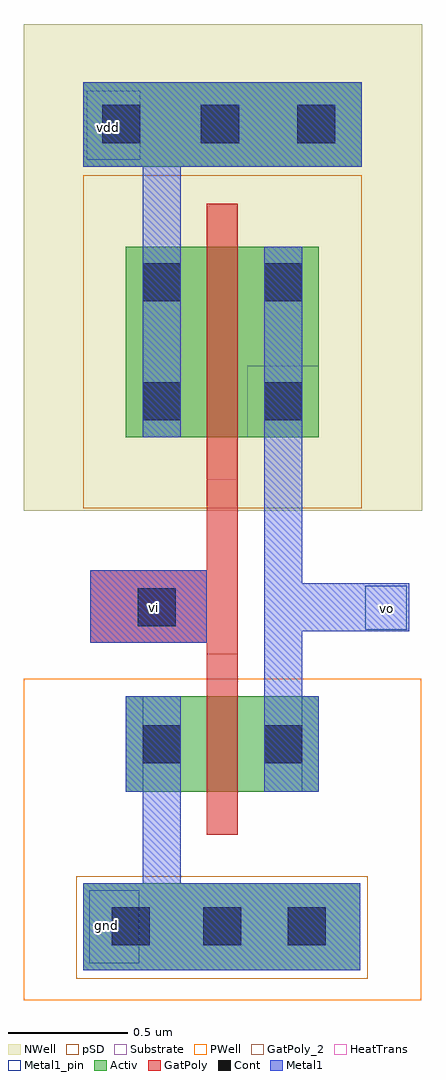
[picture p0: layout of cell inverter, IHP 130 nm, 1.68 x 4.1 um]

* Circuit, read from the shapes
.subckt inverter gnd vdd vi vo
XM1 vo vi gnd gnd sg13_lv_nmos w=0.4u l=0.13u
XM2 vo vi vdd vdd sg13_lv_pmos w=0.8u l=0.13u
.ends

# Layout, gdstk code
import gdstk
lib = gdstk.Library(unit=1e-6, precision=1e-09)
def R(c, l, rs):  # rectangles x0, y0, x1, y1
    for r in rs: c.add(gdstk.rectangle(r[:2], r[2:], *l))
Activ = (1, 0)
GatPoly = (5, 0)
GatPoly_2 = (5, 2)
Cont = (6, 0)
Metal1 = (8, 0)
Metal1_pin = (8, 2)
pSD = (14, 0)
NWell = (31, 0)
Substrate = (40, 0)
PWell = (46, 0)
HeatTrans = (51, 0)

pmos = lib.new_cell('pmos')
R(pmos, Activ, [(0,0,0.3,0.3), (0,0,0.81,0.8), (0.51,0,0.81,0.3)])
R(pmos, GatPoly, [(0.34,-0.18,0.47,0.98), (0.34,-0.18,0.47,0.98)])
R(pmos, Cont, [(0.07,0.07,0.23,0.23), (0.58,0.07,0.74,0.23), (0.07,0.57,0.23,0.73), (0.58,0.57,0.74,0.73)])
R(pmos, Metal1, [(0.07,0,0.23,0.8), (0.07,0,0.23,0.8), (0.58,0,0.74,0.8), (0.58,0,0.74,0.8)])
R(pmos, pSD, [(-0.18,-0.3,0.99,1.1)])
R(pmos, NWell, [(-0.31,-0.31,1.12,1.11)])
R(pmos, Substrate, [(0.51,0,0.81,0.3)])
R(pmos, HeatTrans, [(0.34,-0.18,0.47,0.98)])
pmos.add(gdstk.Label('pmos', (0.405,0.4), layer=63, texttype=0))
pmos.add(gdstk.Label('pmos', (0.405,0.4), layer=51, texttype=0))

nmos_1 = lib.new_cell('nmos$1')
R(nmos_1, Activ, [(0,0,0.3,0.3), (0,0,0.81,0.4), (0.51,0,0.81,0.3)])
R(nmos_1, GatPoly, [(0.34,-0.18,0.47,0.58)])
R(nmos_1, GatPoly_2, [(0.34,-0.18,0.47,0.58)])
R(nmos_1, Cont, [(0.07,0.12,0.23,0.28), (0.58,0.12,0.74,0.28)])
R(nmos_1, Metal1, [(0.07,0,0.23,0.4), (0.58,0,0.74,0.4)])
R(nmos_1, Metal1_pin, [(0.07,0,0.23,0.4), (0.58,0,0.74,0.4)])
R(nmos_1, HeatTrans, [(0.34,-0.18,0.47,0.58)])
nmos_1.add(gdstk.Label('nmos', (0.405,0.2), layer=63, texttype=0))
nmos_1.add(gdstk.Label('nmos', (0.405,0.2), layer=51, texttype=0))

inverter = lib.new_cell('inverter')
R(inverter, Activ, [(-0.62,-1.925,0.545,-1.56), (-0.62,1.45,0.55,1.805)])
R(inverter, GatPoly, [(-0.1,-1.355,0.03,1.295), (-0.59,-0.55,-0.015,-0.245)])
R(inverter, Cont, [(-0.5,-1.82,-0.34,-1.66), (-0.115,-1.82,0.045,-1.66), (0.24,-1.82,0.4,-1.66), (-0.39,-0.48,-0.23,-0.32), (-0.54,1.55,-0.38,1.71), (-0.125,1.55,0.035,1.71), (0.28,1.55,0.44,1.71)])
R(inverter, Metal1, [(-0.62,-1.925,0.545,-1.56), (-0.37,-1.765,-0.21,-1), (-0.44,-1.175,-0.21,-0.775), (0.14,-1.175,0.37,-0.775), (0.14,-1.175,0.3,1.115), (-0.59,-0.55,-0.1,-0.245), (0.14,-0.5,0.75,-0.3), (-0.37,1.025,-0.21,1.805), (-0.62,1.45,0.55,1.805)])
R(inverter, Metal1_pin, [(-0.595,-1.895,-0.385,-1.59), (0.565,-0.495,0.74,-0.31), (-0.39,-0.48,-0.23,-0.32), (-0.605,1.48,-0.38,1.77)])
R(inverter, pSD, [(-0.65,-1.96,0.575,-1.53)])
R(inverter, NWell, [(-0.87,0.005,0.805,2.05)])
R(inverter, PWell, [(-0.87,-2.05,0.8,-0.7)])
inverter.add(gdstk.Reference(pmos, (-0.44,0.315)))
inverter.add(gdstk.Reference(nmos_1, (-0.44,-1.175)))
inverter.add(gdstk.Label('vi', (-0.325,-0.4), layer=8, texttype=25))
inverter.add(gdstk.Label('vdd', (-0.515,1.615), layer=8, texttype=25))
inverter.add(gdstk.Label('gnd', (-0.52,-1.735), layer=8, texttype=25))
inverter.add(gdstk.Label('vo', (0.655,-0.405), layer=8, texttype=25))

lib.write_gds('inverter.gds')
